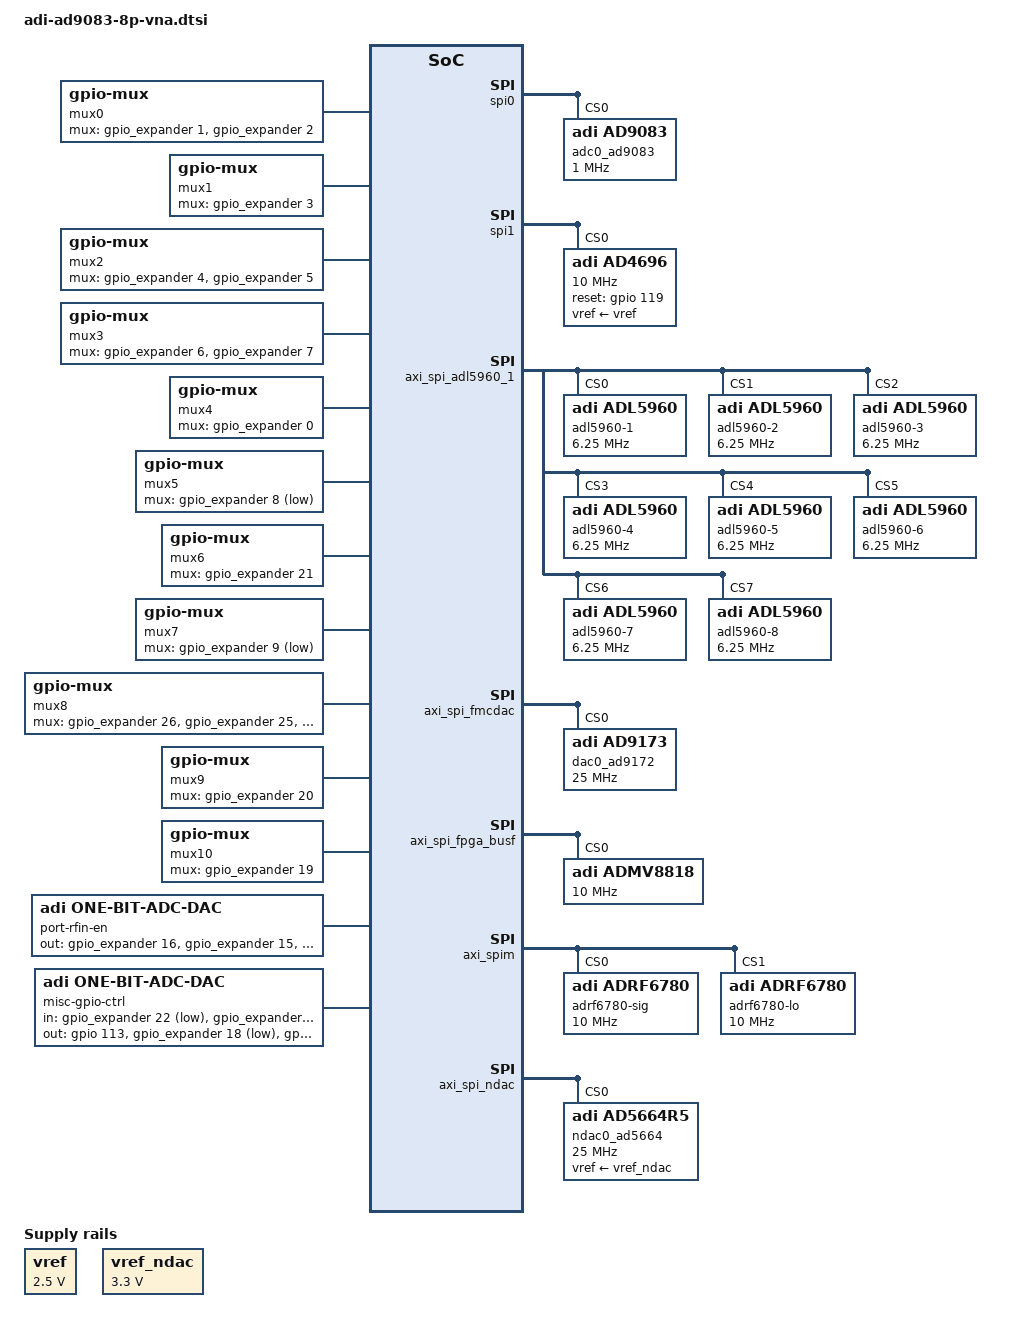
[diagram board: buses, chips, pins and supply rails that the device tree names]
// SPDX-License-Identifier: GPL-2.0
/*
 * dts file for AD9083-ADL5960 on Xilinx ZynqMP ZCU102 Rev 1.0
 *
 * board_revision: <Rev.A>
 *
 * Copyright (C) 2022 Analog Devices Inc.
 */
#include <dt-bindings/iio/frequency/ad9528.h>
#include <dt-bindings/iio/adc/adi,ad9083.h>

#define ADF9528_DIST_CLK	1000000000

#ifndef ADL5960_FOF
#define ADL5960_FOF		256
#endif

#ifndef AD9083_CIC_DEC
#define AD9083_CIC_DEC		AD9083_CIC_DEC_8
#endif

#define AD9083_NCO_FREQ		(ADF9528_DIST_CLK / ADL5960_FOF)

/ {
	fixed_clk: fixed-clock {
		#clock-cells = <0>;
		compatible = "fixed-clock";
		clock-frequency = <10000000>;
	};

	/* gpio_sw1_v1, gpio_sw1_v2*/
	mux0: mux-controller0 {
		compatible = "gpio-mux";
		#mux-control-cells = <0>;

		mux-gpios = <&gpio_expander 1 0>, <&gpio_expander 2 0>;
	};

	/* gpio_sw2 */
	mux1: mux-controller1 {
		compatible = "gpio-mux";
		#mux-control-cells = <0>;

		mux-gpios = <&gpio_expander 3 0>;
	};

	/* gpio_sw3_v1, gpio_sw3_v2*/
	mux2: mux-controller2 {
		compatible = "gpio-mux";
		#mux-control-cells = <0>;

		mux-gpios = <&gpio_expander 4 0>, <&gpio_expander 5 0>;
	};

	/* gpio_sw4_v1, gpio_sw4_v2*/
	mux3: mux-controller3 {
		compatible = "gpio-mux";
		#mux-control-cells = <0>;

		mux-gpios = <&gpio_expander 6 0>, <&gpio_expander 7 0>;
	};

	/* gpio_sw0 */
	mux4: mux-controller4 {
		compatible = "gpio-mux";
		#mux-control-cells = <0>;

		mux-gpios = <&gpio_expander 0 0>;
	};

	/* gpio_sw5 */
	mux5: mux-controller5 {
		compatible = "gpio-mux";
		#mux-control-cells = <0>;

		mux-gpios = <&gpio_expander 8 1>;
	};

	/* gpio_sw6 */
	mux6: mux-controller6 {
		compatible = "gpio-mux";
		#mux-control-cells = <0>;

		mux-gpios = <&gpio_expander 21 0>;
	};

	/* gpio_sw7 */
	mux7: mux-controller7 {
		compatible = "gpio-mux";
		#mux-control-cells = <0>;

		mux-gpios = <&gpio_expander 9 1>;
	};

	/* gpio_prt_a0, gpio_prt_a1, gpio_prt_a2 */
	mux8: mux-controller8 {
		compatible = "gpio-mux";
		#mux-control-cells = <0>;

		mux-gpios = <&gpio_expander 26 0>, <&gpio_expander 25 0>, <&gpio_expander 24 0>;
	};

	mux9: mux-controller9 {
		compatible = "gpio-mux";
		#mux-control-cells = <0>;

		mux-gpios = <&gpio_expander 20 0>;
	};

	mux10: mux-controller10 {
		compatible = "gpio-mux";
		#mux-control-cells = <0>;

		mux-gpios = <&gpio_expander 19 0>;
	};

	vna_mux0: mux-rfin-group {
		compatible = "adi,gen_mux";
		mux-controls = <&mux1>;
		mux-state-names = "d1-d4", "d5-d8";
		label = "mux-rfin-group";
	};

	vna_mux1: mux-rfin1 {
		compatible = "adi,gen_mux";
		mux-controls = <&mux3>;
		mux-state-names = "d5", "d6", "d7", "d8";
		label = "mux-rfin1";
	};

	vna_mux2: mux-rfin2 {
		compatible = "adi,gen_mux";
		mux-controls = <&mux2>;
		mux-state-names = "d1", "d2", "d3", "d4";
		label = "mux-rfin2";
	};

	vna_mux3: mux-prten {
		compatible = "adi,gen_mux";
		mux-controls = <&mux8>;
		mux-state-names =
			"d8", "d7", "d6", "d5", "d1", "d2", "d3", "d4";
		label = "mux-prten";
	};

	clk_mux0: mux-adf4371-siglo {
		compatible = "adi,gen_mux";
		clocks = <&adf4371 0>, <&adf4371 2>;
		#clock-cells = <0>;
		clock-names = "pll0-clk-rf8p", "pll0-clk-rf16p";
		clock-output-names = "clk-mux-out-siglo";

		mux-controls = <&mux4>;
		mux-state-names = "rf8", "rf16";
		label = "mux-adf4371-siglo";
	};

	clk_mux1: mux-adf4371-dbrlo {
		compatible = "adi,gen_mux";
		clocks = <&adf4371 0>, <&adf4371 2>;
		#clock-cells = <0>;
		clock-names = "pll0-clk-rf8n", "pll0-clk-rf16n";
		clock-output-names = "clk-mux-out-dbrlo";

		mux-controls = <&mux5>;
		mux-state-names = "rf8", "rf16"; /* Inverted */
		label = "mux-adf4371-dbrlo";
	};

	freq_src_mux0: mux-freq-src-sel {
		compatible = "adi,gen_mux";
		mux-controls = <&mux0>;
		mux-state-names =
			"rf_dac0_direct", "j7_in", "upconv", "disabled";
		label = "mux-freq-src-sel";
	};

	freq_src_mux1: mux-lo-rfin-p1-freq-src-sel {
		compatible = "adi,gen_mux";
		mux-controls = <&mux6>;
		mux-state-names = "lo-lf-p1", "lo-hf-p1";
		label = "mux-lo-rfin-p1";
	};

	freq_src_mux2: mux-lo-rfin-p2-freq-src-sel {
		compatible = "adi,gen_mux";
		mux-controls = <&mux7>;
		mux-state-names = "lo-lf-p2", "lo-hf-p2"; /* inverted */
		label = "mux-lo-rfin-p2";
	};

	freq_src_mux3: mux-dac0-freq-src-sel {
		compatible = "adi,gen_mux";
		mux-controls = <&mux9>;
		mux-state-names = "rf_if_dac0", "rf_dac0_direct";
		label = "mux-dac0-rfout";
	};

	freq_src_mux4: mux-dac1-freq-src-sel {
		compatible = "adi,gen_mux";
		mux-controls = <&mux10>;
		mux-state-names = "rf_if_dac1", "rf_lo_direct";
		label = "mux-dac1-rfout";
	};


	port-rfin-en@0 {
		compatible = "adi,one-bit-adc-dac";
		out-gpios = <&gpio_expander 16 0>, <&gpio_expander 15 0>, <&gpio_expander 14 0>, <&gpio_expander 13 0>,
					<&gpio_expander 12 0>, <&gpio_expander 11 0>, <&gpio_expander 10 0>, <&gpio_expander 27 0>;

		#address-cells = <1>;
		#size-cells = <0>;
		label = "port-rfin-en";

		channel@0 {
			reg = <0>;
			label = "d1";
		};
		channel@1 {
			reg = <1>;
			label = "d2";
		};
		channel@2 {
			reg = <2>;
			label = "d3";
		};
		channel@3 {
			reg = <3>;
			label = "d4";
		};
		channel@4 {
			reg = <4>;
			label = "d5";
		};
		channel@5 {
			reg = <5>;
			label = "d6";
		};
		channel@6 {
			reg = <6>;
			label = "d7";
		};
		channel@7 {
			reg = <7>;
			label = "d8";
		};
	};

	misc-gpio@1 {
		compatible = "adi,one-bit-adc-dac";
		in-gpios = <&gpio_expander 22 1>, <&gpio_expander 23 1>;
		out-gpios = <&gpio 113 0>, <&gpio_expander 18 1>, <&gpio 128 0>,
		            <&gpio 118 1>, <&gpio 114 1>, <&gpio 126 1>;

		#address-cells = <1>;
		#size-cells = <0>;
		label = "misc-gpio-ctrl";

		channel@0 { /* active-low */
			reg = <0>;
			label = "ADRF6780_SIG_ALARM";
		};
		channel@1 { /* active-low */
			reg = <1>;
			label = "ADRF6780_LO_ALARM";
		};
		channel@2 {
			reg = <2>;
			label = "ADL5960x_SYNC";
		};
		channel@3 { /* Inverted */
			reg = <3>;
			label = "AD9528_REF_SEL";
		};
		channel@4 {
			reg = <4>;
			label = "ADMV8818_SFL";
		};
		channel@5 {
			reg = <5>;
			label = "ADRF6780_SIG_RSTN";
		};
		channel@6 {
			reg = <6>;
			label = "ADRF6780_LO_RSTN";
		};
		channel@7 {
			reg = <7>;
			label = "SEQ_SHDNN";
		};
	};

	vref: regulator-vref-1 {
		compatible = "regulator-fixed";
		regulator-name = "fixed-supply";
		regulator-min-microvolt = <2500000>;
		regulator-max-microvolt = <2500000>;
		regulator-always-on;
	};

	vref_ndac: regulator-vref-2 {
		compatible = "regulator-fixed";
		regulator-name = "ndac-fixed-supply";
		regulator-min-microvolt = <3300000>;
		regulator-max-microvolt = <3300000>;
		regulator-always-on;
	};
};


&spi0 {
    adc0_ad9083: ad9083@0 {
		compatible = "adi,ad9083";
		reg = <0>;

		jesd204-device;
		#jesd204-cells = <2>;
		jesd204-top-device = <0>;
		jesd204-link-ids = <0>;
		jesd204-inputs = <&axi_ad9083_core_rx 0 0>;

		spi-max-frequency = <1000000>;
		clocks = <&ad9528 13>;
		clock-names = "adc_ref_clk";
		adi,adc-frequency-hz= /bits/ 64 <2000000000>; /* 2 GHz */

		/* adi_ad9083 config */
		adi,hp-en;
		adi,vmax-microvolt = <2000>;
		adi,fc-hz =  /bits/ 64 <125000000>; /* 125 MHz */
		adi,rterm-ohms = <100>;
		adi,backoff = <0>;
		adi,finmax-hz = /bits/ 64 <100000000>;
		adi,nco0_freq-hz = /bits/ 64 <AD9083_NCO_FREQ>;
		adi,nco1_freq-hz = /bits/ 64 <0>;
		adi,nco2_freq-hz = /bits/ 64 <0>;
		adi,cic_decimation = /bits/ 8 <AD9083_CIC_DEC>;
		adi,j_decimation = /bits/ 8 <AD9083_J_DEC_16>;
		adi,g_decimation = /bits/ 8 <0>;
		adi,h_decimation = /bits/ 8 <0>;
		adi,nco0_datapath_mode =
			/bits/ 8 <AD9083_DATAPATH_ADC_CIC_NCO_J>;

		/* JESD204 parameters */
		adi,octets-per-frame = <64>;
		adi,frames-per-multiframe = <16>;
		adi,converter-resolution = <16>;
		adi,bits-per-sample = <16>;
		adi,converters-per-device = <32>;
		adi,control-bits-per-sample = <0>;
		adi,lanes-per-device = <1>;
		adi,subclass = <0>;
    };
};

&spi1 {
    status = "okay";

    ad4696: adc@0{
		compatible = "adi,ad4696";
		reg = <0>;
		spi-cpol;
		spi-cpha;
		spi-max-frequency = <10000000>;
		reset-gpios = <&gpio 119 0>;
		vref-supply = <&vref>;
	};
};

&axi_fpga_bus0 {

	status = "okay";

	adf4371: adf4371@0 {
		compatible = "adi,adf4372";
		reg = <0>;
		spi-max-frequency = <10000000>;
		#address-cells = <1>;
		#clock-cells = <1>;
		#size-cells = <0>;
		clocks = <&ad9528 2>; /* 125 MHz */
		clock-names = "clkin";
		clock-scales = <1 10>;
		label = "adf4371";
		clock-output-names = "pll0-clk-rf8", "pll0-clk-rfaux8",
			"pll0-clk-rf16";
		channel@0 {
			reg = <0>;
			adi,power-up-frequency = /bits/ 64 <1000000000>;
			adi,output-enable;
		};
		channel@1 {
			reg = <1>;
			adi,power-up-frequency = /bits/ 64 <1000000000>;
			adi,output-enable;
		};
		channel@2 {
			reg = <2>;
			adi,power-up-frequency = /bits/ 64 <8000000000>;
			adi,output-enable;
		};
	};

	ad9528: ad9528@1 {
		compatible = "adi,ad9528";
		reg = <1>;
		spi-cpol;
		spi-cpha;
		#address-cells = <1>;
		#size-cells = <0>;

		clocks = <&fixed_clk>;
		
		jesd204-device;
		#jesd204-cells = <2>;
		jesd204-sysref-provider;

		spi-max-frequency = <10000000>;

		clock-output-names =
			"ad9528-1_out0", "ad9528-1_out1", "ad9528-1_out2",
			"ad9528-1_out3", "ad9528-1_out4", "ad9528-1_out5",
			"ad9528-1_out6", "ad9528-1_out7", "ad9528-1_out8",
			"ad9528-1_out9", "ad9528-1_out10", "ad9528-1_out11",
			"ad9528-1_out12", "ad9528-1_out13";
		#clock-cells = <1>;

		adi,vcxo-freq = <100000000>;

		adi,refa-enable;
		adi,refb-enable;
		adi,refa-diff-rcv-enable;
		adi,refa-r-div = <1>;
		adi,refb-r-div = <1>;
		adi,osc-in-cmos-neg-inp-enable;

		/* SYSREF config */
		adi,sysref-src = <SYSREF_SRC_INTERNAL>;
		adi,sysref-pattern-mode = <SYSREF_PATTERN_NSHOT>;
		adi,sysref-k-div = <256>;
		adi,sysref-nshot-mode = <SYSREF_NSHOT_4_PULSES>;
		adi,sysref-request-trigger-mode = <SYSREF_LEVEL_HIGH>;
		//adi,jesd204-max-sysref-frequency-hz = <400000>;

		/* PLL1 config */
		adi,pll1-feedback-src-vcxo;
		adi,pll1-feedback-div = <10>;
		adi,pll1-charge-pump-current-nA = <63500>;
		adi,osc-in-diff-enable;

		/* PLL2 config */
		/*
		 * Valid ranges based on VCO locking range:
		 *   1150.000 MHz - 1341.666 MHz
		 *    862.500 MHz - 1006.250 MHz
		 *    690.000 MHz -  805.000 MHz
		 */
		adi,pll2-m1-frequency = <ADF9528_DIST_CLK>;
		adi,pll2-charge-pump-current-nA = <805000>;

		adi,rpole2 = <RPOLE2_225_OHM>;
		adi,rzero = <RZERO_2750_OHM>;
		adi,cpole1 = <CPOLE1_0_PF>;

		adi,status-mon-pin0-function-select = <0xFF>; /* No function */
		adi,status-mon-pin1-function-select = <0xFF>; /* No function */

		ad9528_0_c0: channel@0 {
			reg = <0>;
			adi,extended-name = "FMC_SYSREF";
			adi,driver-mode = <DRIVER_MODE_LVDS>;
			adi,divider-phase = <0>;
			adi,channel-divider = <5>;
			adi,signal-source = <SOURCE_SYSREF_VCO>;
		};

		ad9528_0_c1: channel@1 {
			reg = <1>;
			adi,extended-name = "FPGA_GLBL_CLK"; /* Device clock */
			adi,driver-mode = <DRIVER_MODE_LVDS>;
			adi,divider-phase = <0>;
			adi,channel-divider = <8>; /* 125 MHz */
			adi,signal-source = <SOURCE_VCO>;
		};

		ad9528_0_c2: channel@2 {
			reg = <2>;
			adi,extended-name = "ADF4371_XREF";
			adi,driver-mode = <DRIVER_MODE_LVDS>;
			adi,divider-phase = <0>;
			adi,channel-divider = <8>; /* 125 MHz */
			adi,signal-source = <SOURCE_VCO>;
		};

		ad9528_0_c3: channel@3 {
			reg = <3>;
			adi,extended-name = "FPGA_REF_CLK";
			adi,driver-mode = <DRIVER_MODE_LVDS>;
			adi,divider-phase = <0>;
			adi,channel-divider = <2>; /* 500 MHz */
			adi,signal-source = <SOURCE_VCO>;
		};

		ad9528_0_c4: channel@4 {
			reg = <4>;
			adi,extended-name = "ADL5960_FOF1";
			adi,driver-mode = <DRIVER_MODE_LVDS>;
			adi,divider-phase = <0>;
			adi,channel-divider = <ADL5960_FOF>;
			adi,signal-source = <SOURCE_VCO>;
		};
		ad9528_0_c5: channel@5 {
			reg = <5>;
			adi,extended-name = "ADL5960_FOF2";
			adi,driver-mode = <DRIVER_MODE_LVDS>;
			adi,divider-phase = <0>;
			adi,channel-divider = <ADL5960_FOF>;
			adi,signal-source = <SOURCE_VCO>;
		};
		ad9528_0_c6: channel@6 {
			reg = <6>;
			adi,extended-name = "ADL5960_FOF3";
			adi,driver-mode = <DRIVER_MODE_LVDS>;
			adi,divider-phase = <0>;
			adi,channel-divider = <ADL5960_FOF>;
			adi,signal-source = <SOURCE_VCO>;
		};
		ad9528_0_c7: channel@7 {
			reg = <7>;
			adi,extended-name = "ADL5960_FOF4";
			adi,driver-mode = <DRIVER_MODE_LVDS>;
			adi,divider-phase = <0>;
			adi,channel-divider = <ADL5960_FOF>;
			adi,signal-source = <SOURCE_VCO>;
		};
		
		ad9528_0_c8: channel@8 {
			reg = <8>;
			adi,extended-name = "AD9173_REF";
			adi,driver-mode = <DRIVER_MODE_LVDS>;
			adi,divider-phase = <0>;
			adi,channel-divider = <4>;
			adi,signal-source = <SOURCE_VCO>;
		};
		ad9528_0_c9: channel@9 {
			reg = <9>;
			adi,extended-name = "DAC_SYSREF";
			adi,driver-mode = <DRIVER_MODE_LVDS>;
			adi,divider-phase = <0>;
			adi,channel-divider = <5>;
			adi,signal-source = <SOURCE_SYSREF_VCO>;
		};
		ad9528_0_c10: channel@10 {
			reg = <10>;
			adi,extended-name = "TX_DEVICE_CLK";
			adi,driver-mode = <DRIVER_MODE_LVDS>;
			adi,divider-phase = <0>;
			adi,channel-divider = <4>;
			adi,signal-source = <SOURCE_VCO>;
		};
		ad9528_0_c11: channel@11 {
			reg = <11>;
			adi,extended-name = "DAC_FMC_SYSREF";
			adi,driver-mode = <DRIVER_MODE_LVDS>;
			adi,divider-phase = <0>;
			adi,channel-divider = <5>;
			adi,signal-source = <SOURCE_SYSREF_VCO>;
		};

		ad9528_0_c12: channel@12 {
			reg = <12>;
			adi,extended-name = "DEV_SYSREF";
			adi,driver-mode = <DRIVER_MODE_LVDS>;
			adi,divider-phase = <0>;
			adi,channel-divider = <5>;
			adi,signal-source = <SOURCE_SYSREF_VCO>;
		};

		ad9528_0_c13: channel@13 {
			reg = <13>;
			adi,extended-name = "ADC_REF_CLK";
			adi,driver-mode = <DRIVER_MODE_LVDS>;
			adi,divider-phase = <0>;
			adi,channel-divider = <4>; /* 250 MHz */
			adi,signal-source = <SOURCE_VCO>;
		};
	};
};

&axi_fpga_bus1 {
	dat1: adrf5720-1@1 {
		compatible = "adi,adrf5720";
		reg = <1>;
		spi-max-frequency = <100000>;
		label = "adrf5720-rfin";
	};

	dat2: adrf5720-2@0 {
		compatible = "adi,adrf5720";
		reg = <0>;
		spi-max-frequency = <100000>;
		label = "adrf5720-rfin2";
	};

	gpio_expander: max7301@2 {
		compatible = "max7301";
		reg = <2>;
		spi-max-frequency = <100000>;
		#gpio-cells = <2>;
		gpio-controller;
	};
};

&axi_spi_adl5960_1 {
	adl5960-1@0 {
		compatible = "adi,adl5960";
		reg = <0>;
		spi-max-frequency = <6250000>;
		/* Clocks */
		clocks = <&adf4371 1>, <&ad9528 4>;
		clock-names = "lo_in", "offs_in";
		lo_in-clock-scales = <1 10>;
		label = "adl5960-1";
	};

	adl5960-2@1 {
		compatible = "adi,adl5960";
		reg = <1>;
		spi-max-frequency = <6250000>;
		/* Clocks */
		clocks = <&adf4371 1>, <&ad9528 4>;
		clock-names = "lo_in", "offs_in";
		lo_in-clock-scales = <1 10>;
		label = "adl5960-2";
	};

	adl5960-3@2 {
		compatible = "adi,adl5960";
		reg = <2>;
		spi-max-frequency = <6250000>;
		/* Clocks */
		clocks = <&adf4371 1>, <&ad9528 4>;
		clock-names = "lo_in", "offs_in";
		lo_in-clock-scales = <1 10>;
		label = "adl5960-3";
	};

	adl5960-4@3 {
		compatible = "adi,adl5960";
		reg = <3>;
		spi-max-frequency = <6250000>;
		/* Clocks */
		clocks = <&adf4371 1>, <&ad9528 4>;
		clock-names = "lo_in", "offs_in";
		lo_in-clock-scales = <1 10>;
		label = "adl5960-4";
	};

	adl5960-5@4 {
		compatible = "adi,adl5960";
		reg = <4>;
		spi-max-frequency = <6250000>;
		/* Clocks */
		clocks = <&adf4371 1>, <&ad9528 4>;
		clock-names = "lo_in", "offs_in";
		lo_in-clock-scales = <1 10>;
		label = "adl5960-5";
	};

	adl5960-6@5 {
		compatible = "adi,adl5960";
		reg = <5>;
		spi-max-frequency = <6250000>;
		/* Clocks */
		clocks = <&adf4371 1>, <&ad9528 4>;
		clock-names = "lo_in", "offs_in";
		lo_in-clock-scales = <1 10>;
		label = "adl5960-6";
	};

	adl5960-7@6 {
		compatible = "adi,adl5960";
		reg = <6>;
		spi-max-frequency = <6250000>;
		/* Clocks */
		clocks = <&adf4371 1>, <&ad9528 4>;
		clock-names = "lo_in", "offs_in";
		lo_in-clock-scales = <1 10>;
		label = "adl5960-7";
	};

	adl5960-8@7 {
		compatible = "adi,adl5960";
		reg = <7>;
		spi-max-frequency = <6250000>;
		/* Clocks */
		clocks = <&adf4371 1>, <&ad9528 4>;
		clock-names = "lo_in", "offs_in";
		lo_in-clock-scales = <1 10>;
		label = "adl5960-8";
	};
};

&axi_spi_fmcdac {
	dac0_ad9172: ad9173@0 {
		#address-cells = <1>;
		#size-cells = <0>;
		compatible = "adi,ad9173";
		reg = <0>;
		spi-max-frequency = <25000000>;
		clocks = <&ad9528 8>;
		clock-names = "dac_clk";

		// adi,dac-rate-khz = <2949120>;
		// adi,jesd-link-mode = <10>;

		// adi,jesd-subclass = <1>;
		// adi,dac-interpolation = <1>;
		// adi,channel-interpolation = <1>;
		// adi,clock-output-divider = <1>;
		// adi,syncoutb-signal-type-lvds-enable;
		adi,scrambling = <1>;
		adi,sysref-mode = <2>; /* SYSREF_CONTINUOUS */

		adi,dac-rate-khz = <12000000>; /* 12 GSPS */
		adi,jesd-link-mode = <4>;

		adi,jesd-subclass = <0>;
		adi,dac-interpolation = <8>;
		adi,channel-interpolation = <3>;
		adi,clock-output-divider = <4>;
		adi,syncoutb-signal-type-lvds-enable;

		adi,modulatior-switch-config = <0>; /* AD9172_MODULATOR_SWITCH_CONF_0 */

		adi,standalone-probe; /* NO JESD204, NO TPL, just NCO TEST TONE */

		/* jesd204-fsm support */
		jesd204-device;
		#jesd204-cells = <2>;
		jesd204-top-device = <1>; /* This is the TOP device */
		jesd204-link-ids = <0>;
		jesd204-inputs = <&axi_ad9172_core 1 0>;
		jesd204-ignore-errors;
	};
};

&axi_spi_fpga_busf {
	admv8818-2@0 {
		compatible = "adi,admv8818";
		reg = <0>;
		spi-max-frequency = <10000000>;
		clocks = <&clk_mux0>;
		clock-names = "rf_in";
		clock-scales = <1 10>;
		label = "admv8818";
		adi,tolerance-percent = <3>;
	};
};

&axi_spim {
	adrf6780_sig: adrf6780@0 {
		compatible = "adi,adrf6780";
		reg = <0>;
		spi-max-frequency = <10000000>;
		clocks = <&clk_mux0>;
		clock-names = "lo_in";
		label = "adrf6780-sig";
	};

	adrf6780_lo: adrf6780@1 {
		compatible = "adi,adrf6780";
		reg = <1>;
		spi-max-frequency = <10000000>;
		clocks = <&clk_mux1>;
		clock-names = "lo_in";
		label = "adrf6780-lo";
	};
};

&axi_spi_ndac {
	ndac0_ad5664: ad5664@0 {
		compatible = "adi,ad5664r5";
		reg = <0>;
		spi-max-frequency = <25000000>;
		spi-cpha;
		vref-supply = <&vref_ndac>;
	};
};

